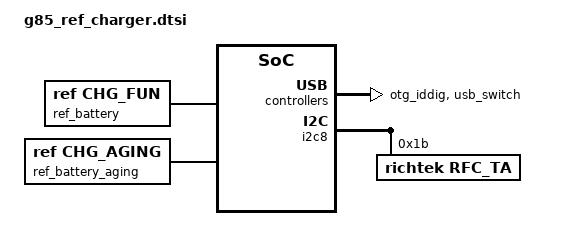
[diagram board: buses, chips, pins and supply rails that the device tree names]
// SPDX-License-Identifier: GPL-2.0
/*
 * Copyright (c) 2022 MediaTek Inc.
 */

&odm {
	otg_iddig: otg_iddig{
		compatible = "mediatek,usb_iddig_bi_eint";
		interrupt-parent = <&pio>;
		interrupts = <41 IRQ_TYPE_LEVEL_LOW 41 0>;
		debounce = <64000>;
		pinctrl-names = "drvvbus_init", "drvvbus_low", "drvvbus_high",
						"otg_dcp_init", "otg_dcp_low", "otg_dcp_high",
						"otg_ovp_init","otg_ovp_low","otg_ovp_high";
		pinctrl-0 = <&gpio16_mode0_drvvbus>;
		pinctrl-1 = <&gpio16_mode0_drvvbus_low>;
		pinctrl-2 = <&gpio16_mode0_drvvbus_high>;
		pinctrl-3 = <&gpio158_otg_dcp_init>;
		pinctrl-4 = <&gpio158_otg_dcp_low>;
		pinctrl-5 = <&gpio158_otg_dcp_high>;
		pinctrl-6 = <&gpio39_otg_ovp_init>;
		pinctrl-7 = <&gpio39_otg_ovp_low>;
		pinctrl-8 = <&gpio39_otg_ovp_high>;
		status = "okay";
	};

	ref_battery: ref_battery {
		compatible = "ref,chg_fun";

		pinctrl-names = "otg_gpio_init", "otg_gpio_low", "otg_gpio_high",
						"meta_gpio_init", "meta_gpio_low", "meta_gpio_high";
		pinctrl-0 = <&gpio_otg>;
		pinctrl-1 = <&gpio_otg_low>;
		pinctrl-2 = <&gpio_otg_high>;
		pinctrl-3 = <&gpio_meta>;
		pinctrl-4 = <&gpio_meta_low>;
		pinctrl-5 = <&gpio_meta_high>;

		/* PCB thermal */
		enable_pcb_tml;
		pcb_temp_step_one = <39000>;
		pcb_cur_step_one = <500>;
		pcb_temp_step_two = <44000>;
		pcb_cur_step_two = <500>;
		pcb_min_chg_cur = <1000000>;
		/*jeita*/
		jeita_below_t0_chg_cur = <0>;
		jeita_t0_to_t1_chg_cur = <1000000>;
		jeita_t2_to_t3_chg_cur = <2000000>;
		jeita_t3_to_t4_chg_cur = <2000000>;
		jeita_above_t4_chg_cur = <0>;
		jeita_below_t0_input_cur = <1500000>;
		jeita_t0_to_t1_input_cur = <1500000>;
		jeita_t2_to_t3_input_cur = <2000000>;
		jeita_t3_to_t4_input_cur = <2000000>;
		jeita_above_t4_input_cur = <1000000>;
	};

	ref_battery_aging: ref_battery_aging {
		compatible = "ref,chg_aging";
		battery_aging_module0 = <0>;
		battery_aging_module1 = <0>;
		battery_aging_module2 = <0>;
		battery_aging_module3 = <0>;
	};

	usb_switch: usb_switch {
		compatible = "ref,usb_switch";
		switch_built_in_ic;
		status = "okay";
	};

	pca_rfc_ta {
		compatible = "richtek,pca_rfc_ta";
		/*support_cc;*/
		vta_step = <20>;
		ita_step = <30>;
		ita_gap_per_vstep = <20>;
		/*pwr_lmt;*/
		support_meas_cap;
		support_status;
		status = "okay";
	};

};

&i2c8{
	rfc_ta@1b {
		compatible = "richtek,rfc_ta";
		reg = <0x1b>;
		status = "okay";
	};
};

&charger {
	compatible = "mediatek,charger";
	algorithm_name = "SwitchCharging";
	enable_sw_jeita;
	/*enable_pe_plus;*/
	/*enable_pe_2;*/
	/*enable_hvdcp20;*/
	/*enable_tc30;*/
	/*enable_pe_5;*/
	/* enable_pe_3; */
	/* enable_pe_4; */
	/* enable_type_c; */
	power_path_support;
	/*enable_dynamic_mivr;*/
	enable_ir_comp;
	r_bat_comp = <30>;
	v_comp_max = <40000>;
	/*enable_dynamic_mivr;*/

	disable_pd_dual;

	/* common */
	/* enable multi battery cv setting*/
	multi_battery_cv;
	battery_cv = <4450000 4450000 4450000 4450000>;
	max_charger_voltage = <6500000>;
	min_charger_voltage = <4400000>;

	/* dynamic mivr */
	min_charger_voltage_1 = <4400000>;
	min_charger_voltage_2 = <4200000>;
	max_dmivr_charger_current = <1400000>;

	/* charging current */
	usb_charger_current_suspend = <0>;
	usb_charger_current_unconfigured = <70000>;
	usb_charger_current_configured = <500000>;
	usb_charger_current = <500000>;
	ac_charger_current = <2200000>;
	ac_charger_input_current = <2000000>;
	non_std_ac_charger_current = <1200000>;
	charging_host_charger_current = <1500000>;
	apple_1_0a_charger_current = <650000>;
	apple_2_1a_charger_current = <800000>;
	ta_ac_charger_current = <3000000>;

	/* sw jeita */
	jeita_temp_above_t4_cv = <4150000 4150000 4150000 4150000>;
	jeita_temp_t3_to_t4_cv = <4150000 4150000 4150000 4150000>;
	jeita_temp_t2_to_t3_cv = <4450000 4450000 4450000 4450000>;
	jeita_temp_t1_to_t2_cv = <4450000 4450000 4450000 4450000>;
	jeita_temp_t0_to_t1_cv = <4450000 4450000 4450000 4450000>;
	jeita_temp_below_t0_cv = <4450000 4450000 4450000 4450000>;
	temp_t4_thres = <55>;
	temp_t4_thres_minus_x_degree = <51>;
	temp_t3_thres = <45>;
	temp_t3_thres_minus_x_degree = <44>;
	temp_t2_thres = <15>;
	temp_t2_thres_plus_x_degree = <16>;
	temp_t1_thres = <1>;
	temp_t1_thres_plus_x_degree = <1>;
	temp_t0_thres = <1>;
	temp_t0_thres_plus_x_degree = <1>;
	temp_neg_10_thres = <2>;

	/* battery temperature protection */
	enable_min_charge_temp;
	min_charge_temp = <0>;
	min_charge_temp_plus_x_degree = <1>;
	max_charge_temp = <53>;
	max_charge_temp_minus_x_degree = <52>;

	/* PE */
	/* ta_12v_support;*/
	ta_9v_support;
	pe_ichg_level_threshold = <1000000>; /* uA */
	ta_ac_12v_input_current = <2000000>;
	ta_ac_9v_input_current = <2000000>;
	ta_ac_7v_input_current = <2000000>;

	/* PE 2.0 */
	pe20_ichg_level_threshold = <1000000>; /* uA */
	ta_start_battery_soc = <0>;
	ta_stop_battery_soc = <90>;

	/* PE 4.0 */
	high_temp_to_leave_pe40 = <46>;
	high_temp_to_enter_pe40 = <39>;
	low_temp_to_leave_pe40 = <10>;
	low_temp_to_enter_pe40 = <16>;

	/* PE 4.0 single charger*/
	pe40_single_charger_input_current = <3000000>;
	pe40_single_charger_current = <3000000>;

	/* PE 4.0 dual charger*/
	pe40_dual_charger_input_current = <3000000>;
	pe40_dual_charger_chg1_current = <2000000>;
	pe40_dual_charger_chg2_current = <2000000>;
	pe40_stop_battery_soc = <80>;

	/* PE 4.0 cable impedance (mohm) */
	pe40_r_cable_1a_lower = <518>;
	pe40_r_cable_2a_lower = <383>;
	pe40_r_cable_3a_lower = <245>;

	/* dual charger */
	chg1_ta_ac_charger_current = <1500000>;
	chg2_ta_ac_charger_current = <1500000>;
	slave_mivr_diff = <100000>;
	dual_polling_ieoc = <450000>;

	/* cable measurement impedance */
	cable_imp_threshold = <699>;
	vbat_cable_imp_threshold = <3900000>; /* uV */

	/* bif */
	bif_threshold1 = <4250000>;
	bif_threshold2 = <4300000>;
	bif_cv_under_threshold2 = <4450000>;

	/* PD */
	pd_vbus_low_bound = <5000000>;
	pd_vbus_upper_bound = <5000000>;
	pd_ichg_level_threshold = <1000000>; /* uA */
	pd_stop_battery_soc = <80>;

	ibus_err = <14>;
	vsys_watt = <5000000>;
	max_charging_time = <72000>; /* 20 hours */

	dv2_chg_cv = <4480000 4480000 4480000 4480000>;
	dv2_chg_eoc=<500000>;
	comp_ir=<25000>;
	comp_iv=<64000>;
};

&lk_charger {
		compatible = "mediatek,lk_charger";
		enable_anime;
		/*enable_pe_plus;*/
		enable_pd20_reset;
		power_path_support;
		max_charger_voltage = <6500000>;
		fast_charge_voltage = <2500000>;

	/* charging current */
	usb_charger_current = <500000>;
	ac_charger_current = <1500000>;
	ac_charger_input_current = <1500000>;
	non_std_ac_charger_current = <500000>;
	charging_host_charger_current = <1500000>;
	ta_ac_charger_current = <3000000>;
	pd_charger_current = <500000>;

	cur_threshold = <500000>;
	/* battery temperature protection */
	temp_t4_threshold = <50>;
	temp_t3_threshold = <45>;
	temp_t2_threshold = <15>;
	temp_t1_threshold = <0>;
};
